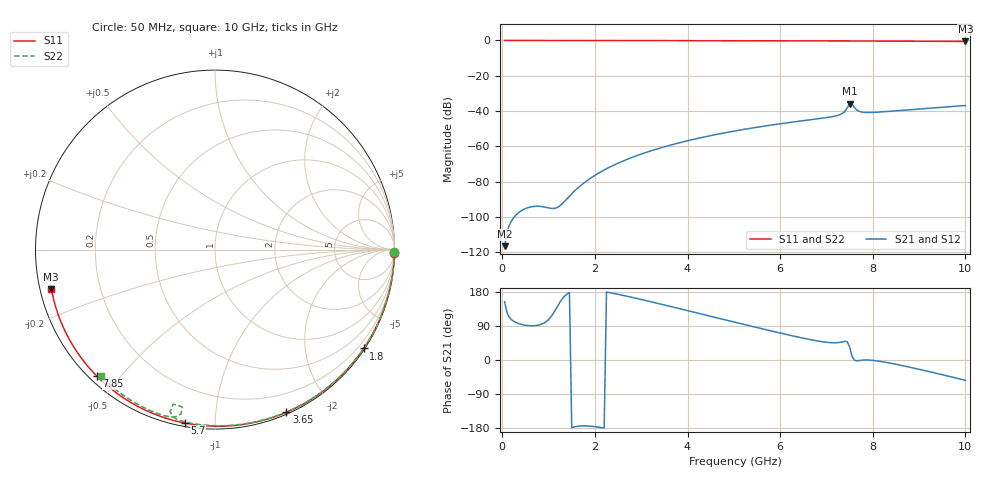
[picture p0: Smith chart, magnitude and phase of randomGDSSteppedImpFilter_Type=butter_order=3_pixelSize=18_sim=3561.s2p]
! freq	dB(S11)	phase(S11)	dB(S12)	phase(S12)
!  dB(S21)	phase(S21)	dB(S22)	phase(S22)
!S-par simulation data
#  GHz  S  DB  R 50
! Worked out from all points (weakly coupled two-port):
!   200 points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, 50 MHz to 10 GHz, reference 50 ohm
!   highest |S21| = -35.84 dB at 7.5 GHz (marker M1); lowest = -116.7 dB at 50 MHz (marker M2)
!   lowest |S11| = -0.6 dB at 10 GHz (marker M3), VSWR 31.21, Z = 1.62 - j5.91 ohm
!   |S11| at or under -10 dB: nowhere
!   |S22| runs from -1.0 to 0.0 dB; largest |S21 - S12| = 0
!   S11 on the Smith chart (normalised r, x): 50 MHz: open; 1.8 GHz: 0.03, -3.31; 3.65 GHz: 0.02, -1.53; 5.7 GHz: 0.02, -0.84; 7.85 GHz: 0.02, -0.44; 10 GHz: 0.03, -0.12
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0.05  -0.00 -1.0  -116.67 153.4  -116.67 153.4  -0.00 -0.8
0.85  -0.02 -16.1  -94.21 94.6  -94.21 94.6  -0.02 -12.9
1.75  -0.04 -32.7  -81.07 -173.8  -81.07 -173.8  -0.03 -26.3
1.8  -0.04 -33.6  -80.07 -173.9  -80.07 -173.9  -0.03 -27.1
2.15  -0.05 -40.0  -74.17 -178.5  -74.17 -178.5  -0.04 -32.2
2.5  -0.06 -46.2  -69.60 173.4  -69.60 173.4  -0.05 -37.3
2.9  -0.07 -53.3  -65.37 162.6  -65.37 162.6  -0.06 -43.0
3.4  -0.08 -62.0  -61.07 148.2  -61.07 148.2  -0.07 -50.1
3.65  -0.09 -66.3  -59.22 140.8  -59.22 140.8  -0.07 -53.6
5.05  -0.14 -89.5  -51.20 98.9  -51.20 98.9  -0.11 -72.6
5.7  -0.17 -99.8  -48.41 79.8  -48.41 79.8  -0.13 -81.1
6.7  -0.23 -115.4  -44.80 52.6  -44.80 52.6  -0.18 -93.8
7.3  -0.27 -124.5  -41.98 46.8  -41.98 46.8  -0.26 -102.2
7.4  -0.28 -126.1  -40.10 49.4  -40.10 49.4  -0.38 -104.3
7.5  -0.29 -127.5  -35.84 34.7  -35.84 34.7  -0.99 -105.2
7.55  -0.29 -128.3  -35.90 10.7  -35.90 10.7  -0.97 -101.8
7.65  -0.29 -129.9  -39.33 -2.1  -39.33 -2.1  -0.43 -102.7
7.7  -0.30 -130.6  -40.13 -1.4  -40.13 -1.4  -0.36 -103.7
7.85  -0.31 -132.9  -40.85 0.1  -40.85 0.1  -0.29 -106.2
8.35  -0.36 -140.6  -40.21 -7.6  -40.21 -7.6  -0.30 -112.7
9.2  -0.45 -153.7  -38.44 -30.1  -38.44 -30.1  -0.37 -122.8
10  -0.56 -166.5  -36.91 -53.6  -36.91 -53.6  -0.45 -132.1
